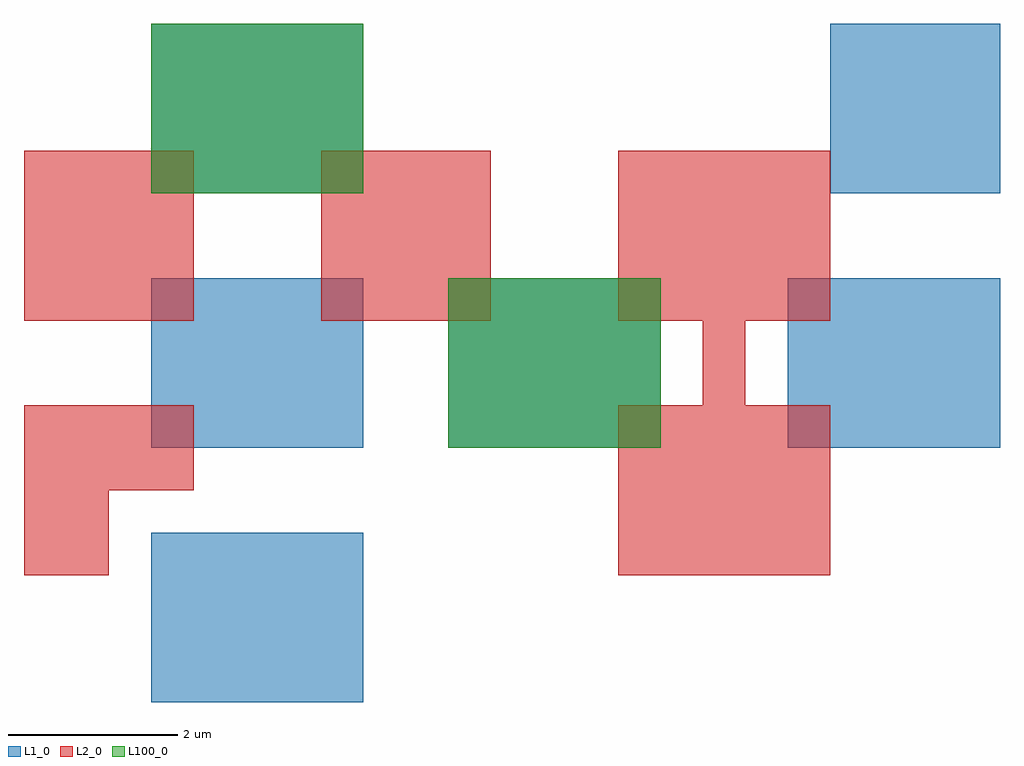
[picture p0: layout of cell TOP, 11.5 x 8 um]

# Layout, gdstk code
import gdstk
lib = gdstk.Library(unit=1e-6, precision=1e-09)
def R(c, l, rs):  # rectangles x0, y0, x1, y1
    for r in rs: c.add(gdstk.rectangle(r[:2], r[2:], *l))
def A(c, l, x, y, w, h, nx, ny, dx, dy):  # array of equal rectangles
    R(c, l, [(x+i*dx, y+j*dy, x+i*dx+w, y+j*dy+h) for i in range(nx) for j in range(ny)])
def P(c, l, *ps):  # polygons
    for p in ps: c.add(gdstk.Polygon(p, *l))
L1_0 = (1, 0)
L2_0 = (2, 0)
L100_0 = (100, 0)

top = lib.new_cell('TOP')
A(top, L1_0, 0.5, -3, 2.5, 2, 1, 3, 0, 3)
R(top, L1_0, [(4,0,6.5,2), (8,0,10.5,2), (8.5,3,10.5,5)])
R(top, L2_0, [(6,-1.5,8.5,0.5), (7,0.5,7.5,1.5), (-1,1.5,1,3.5), (2.5,1.5,4.5,3.5), (6,1.5,8.5,3.5)])
P(top, L2_0, [(-1,-1.5),(-1,0.5),(1,0.5),(1,-0.5),(0,-0.5),(0,-1.5)])
R(top, L100_0, [(4,0,6.5,2), (0.5,3,3,5)])

lib.write_gds('TOP.gds')
